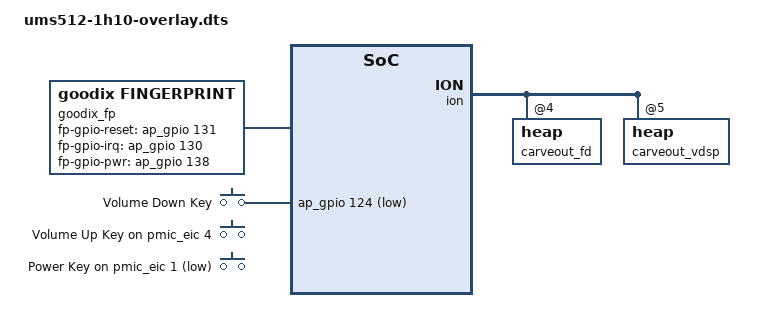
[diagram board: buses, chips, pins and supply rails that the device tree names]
/dts-v1/;
/plugin/;

#include <dt-bindings/input/input.h>
#include <dt-bindings/gpio/gpio.h>

/ {
	fragment {
		target-path = "/";
		__overlay__ {
			sprd-wlan {
				compatible = "sprd,sc2355-wifi";
			};

			goodix_fp{
				compatible = "goodix,fingerprint";
				fp-gpio-reset = <&ap_gpio 131 0x00>;
				fp-gpio-irq = <&ap_gpio 130 0x00>;
				fp-gpio-pwr = <&ap_gpio 138 0x00>;
			};

			gpio-keys {
				compatible = "gpio-keys";

				key-volumedown {
					label = "Volume Down Key";
					linux,code = <KEY_VOLUMEDOWN>;
					gpios = <&ap_gpio 124 GPIO_ACTIVE_LOW>;
					debounce-interval = <2>;
					wakeup-source;
				};

				key-volumeup {
					label = "Volume Up Key";
					linux,code = <KEY_VOLUMEUP>;
					gpios = <&pmic_eic 4 GPIO_ACTIVE_HIGH>;
					debounce-interval = <2>;
					wakeup-source;
				};

				key-power {
					label = "Power Key";
					linux,code = <KEY_POWER>;
					gpios = <&pmic_eic 1 GPIO_ACTIVE_LOW>;
					debounce-interval = <2>;
					wakeup-source;
				};
			};

		};
	};

};

&reserved_memory {

	fd_reserved: faceid-mem@efaae000 {
		reg = <0x0 0xefaae000 0x0 0x00f00000>;
	};

	vdsp_reserved: vdsp-mem@f09ae000 {
		reg = <0x0 0xf09ae000 0x0 0x03700000>;
	};
/*
	gpu_reserved: gpu-mem@fb8ae000 {
		reg = <0x0 0xfb8ae000 0x0 0x01e5a000>;
	};
*/
};

&ion {
	heap@4 {
		reg = <4>;
		label = "carveout_fd";
		type = <2>;
		memory-region = <&fd_reserved>;
	};

	heap@5 {
		reg = <5>;
		label = "carveout_vdsp";
		type = <2>;
		memory-region = <&vdsp_reserved>;
	};
};

&ddr_dfs {
	sprd-scene = "boost", "lcdon", "lcdoff", "camlow",
		"camhigh", "camveryhigh", "faceid";
	sprd-freq = <1333 768 256 384 512 1333 1333>;
};
